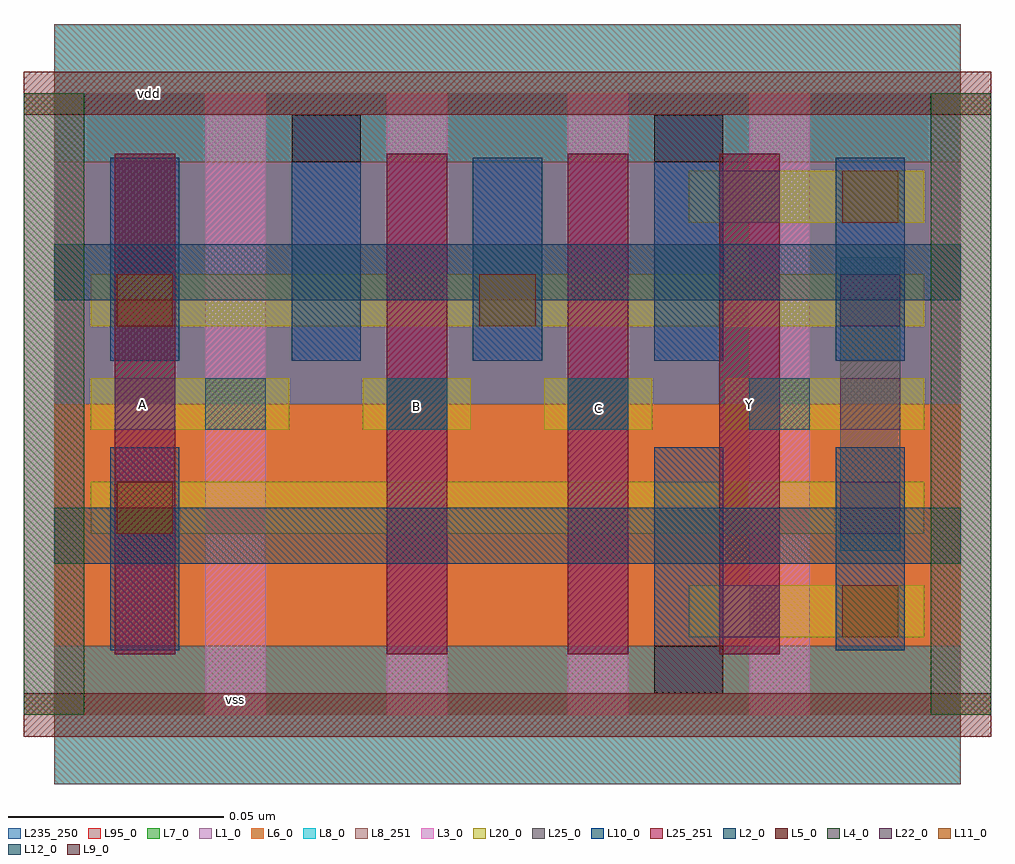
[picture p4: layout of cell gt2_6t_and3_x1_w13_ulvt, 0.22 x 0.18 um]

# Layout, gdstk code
import gdstk
lib = gdstk.Library(unit=1e-6, precision=1e-10)
def R(c, l, rs):  # rectangles x0, y0, x1, y1
    for r in rs: c.add(gdstk.rectangle(r[:2], r[2:], *l))
def A(c, l, x, y, w, h, nx, ny, dx, dy):  # array of equal rectangles
    R(c, l, [(x+i*dx, y+j*dy, x+i*dx+w, y+j*dy+h) for i in range(nx) for j in range(ny)])
L1_0 = (1, 0)
L2_0 = (2, 0)
L3_0 = (3, 0)
L4_0 = (4, 0)
L5_0 = (5, 0)
L6_0 = (6, 0)
L7_0 = (7, 0)
L8_0 = (8, 0)
L8_251 = (8, 251)
L9_0 = (9, 0)
L10_0 = (10, 0)
L11_0 = (11, 0)
L12_0 = (12, 0)
L20_0 = (20, 0)
L22_0 = (22, 0)
L25_0 = (25, 0)
L25_251 = (25, 251)
L95_0 = (95, 0)
L235_250 = (235, 250)

gt2_6t_and3_x1_w13_ulvt = lib.new_cell('gt2_6t_and3_x1_w13_ulvt')
R(gt2_6t_and3_x1_w13_ulvt, L1_0, [(0,0.072,0.21,0.144)])
R(gt2_6t_and3_x1_w13_ulvt, L2_0, [(0,0.035,0.21,0.048), (0,0.096,0.21,0.109)])
A(gt2_6t_and3_x1_w13_ulvt, L3_0, -0.007, 0, 0.014, 0.144, 6, 1, 0.042, 0)
R(gt2_6t_and3_x1_w13_ulvt, L4_0, [(-0.007,0,0.007,0.144), (0.203,0,0.217,0.144)])
R(gt2_6t_and3_x1_w13_ulvt, L5_0, [(-0.007,-0.005,0.217,0.005), (-0.007,0.139,0.217,0.149)])
R(gt2_6t_and3_x1_w13_ulvt, L6_0, [(0,0,0.21,0.072)])
R(gt2_6t_and3_x1_w13_ulvt, L7_0, [(0,0.072,0.21,0.144)])
R(gt2_6t_and3_x1_w13_ulvt, L8_0, [(0,-0.016,0.21,0.016), (0,0.128,0.21,0.16)])
R(gt2_6t_and3_x1_w13_ulvt, L8_251, [(0,-0.016,0.21,0.016), (0,0.128,0.21,0.16)])
R(gt2_6t_and3_x1_w13_ulvt, L9_0, [(0.139,0.005,0.155,0.016), (0.055,0.128,0.071,0.139), (0.139,0.128,0.155,0.139)])
A(gt2_6t_and3_x1_w13_ulvt, L10_0, 0.013, 0.082, 0.016, 0.047, 3, 1, 0.084, 0)
R(gt2_6t_and3_x1_w13_ulvt, L10_0, [(0.139,0.005,0.155,0.062), (0.013,0.015,0.029,0.062), (0.181,0.015,0.197,0.062), (0.055,0.082,0.071,0.139), (0.139,0.082,0.155,0.139)])
R(gt2_6t_and3_x1_w13_ulvt, L11_0, [(0.1825,0.018,0.1955,0.03), (0.0145,0.042,0.0275,0.054), (0.0145,0.09,0.0275,0.102), (0.0985,0.09,0.1115,0.102), (0.1825,0.114,0.1955,0.126)])
A(gt2_6t_and3_x1_w13_ulvt, L12_0, 0.035, 0.066, 0.014, 0.012, 4, 1, 0.042, 0)
R(gt2_6t_and3_x1_w13_ulvt, L20_0, [(0.147,0.018,0.2015,0.03), (0.0085,0.042,0.2015,0.054), (0.0085,0.066,0.0545,0.078), (0.0715,0.066,0.0965,0.078), (0.1135,0.066,0.1385,0.078), (0.1555,0.066,0.2015,0.078), (0.0085,0.09,0.2015,0.102), (0.147,0.114,0.2015,0.126)])
A(gt2_6t_and3_x1_w13_ulvt, L22_0, 0.182, 0.042, 0.014, 0.012, 1, 3, 0, 0.024)
R(gt2_6t_and3_x1_w13_ulvt, L22_0, [(0.154,0.018,0.168,0.03), (0.014,0.066,0.028,0.078), (0.077,0.066,0.091,0.078), (0.119,0.066,0.133,0.078), (0.154,0.114,0.168,0.126)])
R(gt2_6t_and3_x1_w13_ulvt, L25_0, [(0.014,0.014,0.028,0.13), (0.077,0.014,0.091,0.13), (0.119,0.014,0.133,0.13), (0.154,0.014,0.168,0.13), (0.182,0.038,0.196,0.106)])
R(gt2_6t_and3_x1_w13_ulvt, L25_251, [(0.014,0.014,0.028,0.13), (0.077,0.014,0.091,0.13), (0.119,0.014,0.133,0.13), (0.154,0.014,0.168,0.13)])
R(gt2_6t_and3_x1_w13_ulvt, L95_0, [(0,0,0.21,0.144)])
R(gt2_6t_and3_x1_w13_ulvt, L235_250, [(0,0,0.21,0.144)])
gt2_6t_and3_x1_w13_ulvt.add(gdstk.Label('vdd', (0.022,0.144), layer=8, texttype=251))
gt2_6t_and3_x1_w13_ulvt.add(gdstk.Label('vss', (0.042,0.0035), layer=8, texttype=251))
gt2_6t_and3_x1_w13_ulvt.add(gdstk.Label('A', (0.0205,0.072), layer=25, texttype=251))
gt2_6t_and3_x1_w13_ulvt.add(gdstk.Label('B', (0.084,0.0715), layer=25, texttype=251))
gt2_6t_and3_x1_w13_ulvt.add(gdstk.Label('Y', (0.161,0.072), layer=25, texttype=251))
gt2_6t_and3_x1_w13_ulvt.add(gdstk.Label('C', (0.126,0.071), layer=25, texttype=251))

lib.write_gds('gt2_6t_and3_x1_w13_ulvt.gds')
